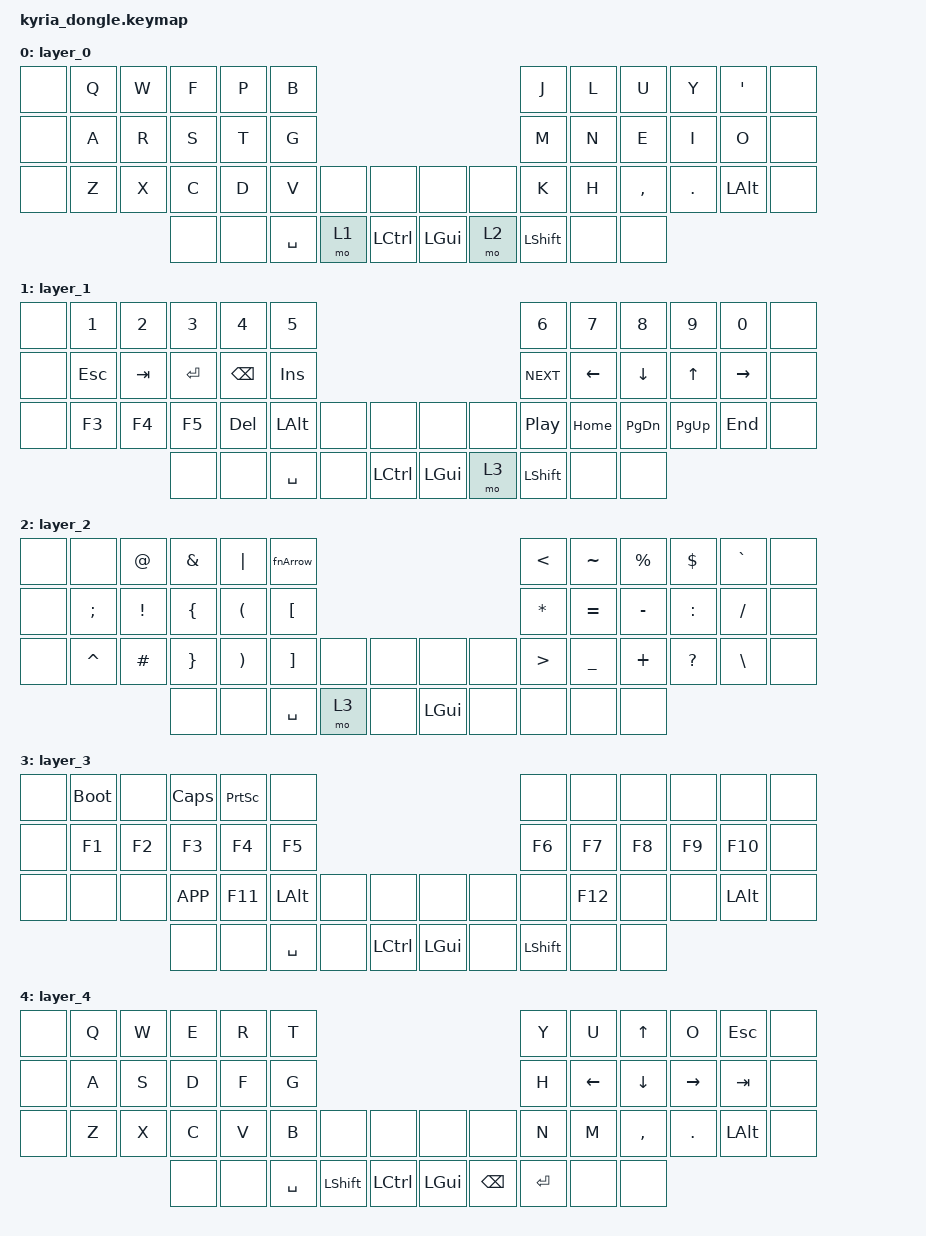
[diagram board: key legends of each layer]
/*
 * Copyright (c) 2020 The ZMK Contributors
 *
 * SPDX-License-Identifier: MIT
 */

#include <behaviors.dtsi>
#include <dt-bindings/zmk/keys.h>

/ {
    combos {
        compatible = "zmk,combos";
        combo_game {
            timeout-ms = <50>;
            key-positions = <6 7>;
            bindings = <&tog 4>;
        };
    };
};

/ {
    macros {
        fnArrow: fnArrow {
            label = "ZM_fnArrow";
            compatible = "zmk,behavior-macro";
            tap-ms = <20>;
            #binding-cells = <0>;
            bindings = <&kp KP_EQUAL &kp GREATER_THAN>;
        };
    };
};

/ {   
	keymap {
		compatible = "zmk,keymap";
		layer_0 {
			bindings = <
                &none   &kp Q           &kp W           &kp F           &kp P           &kp B                                                       &kp J           &kp L           &kp U           &kp Y           &kp APOS        &none
                &none   &kp A           &kp R           &kp S           &kp T           &kp G                                                       &kp M           &kp N           &kp E           &kp I           &kp O           &none
                &none   &kp Z           &kp X           &kp C           &kp D           &kp V       &none       &none       &none       &none       &kp K           &kp H           &kp COMMA       &kp DOT         &kp LALT        &none
                                                        &none           &none           &kp SPACE   &mo 1       &kp LCTRL   &kp LGUI    &mo 2       &kp LSHFT       &none           &none
			>;
		};   
        layer_1 {
			bindings = <
                &none   &kp N1          &kp N2          &kp N3          &kp N4          &kp N5                                                      &kp N6          &kp N7          &kp N8          &kp N9          &kp N0          &none 
		        &none   &kp ESC         &kp TAB		    &kp ENTER       &kp BSPC        &kp INS                                                     &kp C_NEXT      &kp LEFT        &kp DOWN        &kp UP          &kp RIGHT       &none 
                &none   &kp F3          &kp F4          &kp F5          &kp DEL         &kp LALT    &none       &none       &none       &none       &kp C_PP        &kp HOME        &kp PG_DN       &kp PG_UP       &kp END         &none 
                                                        &none           &none           &kp SPACE   &none       &kp LCTRL   &kp LGUI    &mo 3       &kp LSHFT       &none           &none       
            >;
		};
        layer_2 {
			bindings = <
                &none   &none           &kp AT          &kp AMPS        &kp PIPE        &fnArrow                                                    &kp LT          &kp TILDE       &kp PRCNT       &kp DLLR        &kp GRAVE       &none 
                &none   &kp SEMI        &kp EXCL        &kp LBRC        &kp LPAR        &kp LBKT                                                    &kp ASTRK       &kp EQUAL       &kp MINUS       &kp COLON       &kp FSLH        &none 
                &none   &kp CARET       &kp HASH        &kp RBRC        &kp RPAR        &kp RBKT    &none       &none       &none       &none       &kp GT          &kp UNDER       &kp PLUS        &kp QMARK       &kp BSLH        &none 
    	                                                &none           &none           &kp SPACE   &mo 3       &none       &kp LGUI    &none       &none           &none           &none  
            >;
		};   
        layer_3 {
			bindings = <
                &none   &bootloader     &none           &kp CAPS        &kp PSCRN       &none                                                       &none           &none           &none           &none           &none           &none
                &none   &kp F1          &kp F2          &kp F3          &kp F4          &kp F5                                                      &kp F6          &kp F7          &kp F8          &kp F9          &kp F10         &none 
                &none   &none           &none           &kp K_APP       &kp F11         &kp LALT    &none       &none       &none       &none       &none           &kp F12         &none           &none           &kp LALT        &none
                                                        &none           &none           &kp SPACE   &none       &kp LCTRL   &kp LGUI    &none       &kp LSHFT       &none           &none 
            >;
		};
        layer_4 {
			bindings = <
                &none   &kp Q           &kp W           &kp E           &kp R           &kp T                                                       &kp Y           &kp U           &kp UP          &kp O           &kp ESC         &none
                &none   &kp A           &kp S           &kp D           &kp F           &kp G                                                       &kp H           &kp LEFT        &kp DOWN        &kp RIGHT       &kp TAB         &none
                &none   &kp Z           &kp X           &kp C           &kp V           &kp B       &none       &none       &none       &none       &kp N           &kp M           &kp COMMA       &kp DOT         &kp LALT        &none
                                                        &none           &none           &kp SPACE   &kp LSHFT   &kp LCTRL   &kp LGUI    &kp BSPC    &kp ENTER       &none           &none 
            >;
		};
	};
};

//	            &none   &none           &none           &none           &none           &none                                                       &none           &none           &none           &none           &none           &none 
//	            &none   &none           &none           &none           &none           &none                                                       &none           &none           &none           &none           &none           &none 
//	            &none   &none           &none           &none           &none           &none       &none       &none       &none       &none       &none           &none           &none           &none           &none           &none 
//	                                                    &none           &none           &none       &none       &none       &none       &none       &none           &none           &none 


//	            0       1               2               3               4               5                                                           6               7               8               9               10              11
//              12      13              14              15              16              17                                                          18              19              20              21              22              23
//              24      25              26              27              28              29          30          31          32          33          34              35              36              37              38              39
//                                                      40              41              42          43          44          45          46          47              48              49
